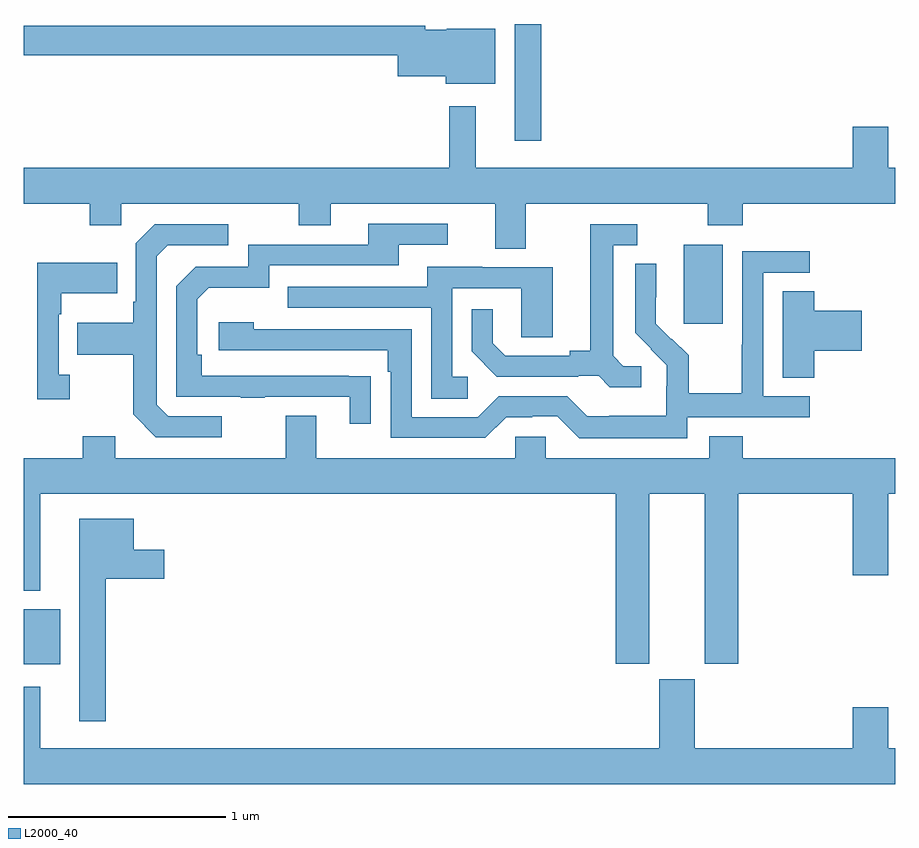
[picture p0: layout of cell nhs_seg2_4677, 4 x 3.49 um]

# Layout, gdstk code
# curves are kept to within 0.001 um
import gdstk
lib = gdstk.Library(unit=1e-6, precision=1e-09)
def R(c, l, rs):  # rectangles x0, y0, x1, y1
    for r in rs: c.add(gdstk.rectangle(r[:2], r[2:], *l))
def P(c, l, *ps):  # polygons
    for p in ps: c.add(gdstk.Polygon(p, *l))
L2000_40 = (2000, 40)

nhs_seg2_4677 = lib.new_cell('nhs_seg2_4677')
R(nhs_seg2_4677, L2000_40, [(365,638.861,365.167,639.115), (368.03,640.425,368.209,640.786), (367.253,641.265,367.375,641.8)])
P(nhs_seg2_4677, L2000_40, [(367.165,641.779),(366.942,641.779),(366.942,641.773),(366.842,641.773),(366.842,641.792),(365,641.792),(365,641.656),(366.716,641.656),(366.716,641.561),(366.938,641.561),(366.938,641.525),(367.165,641.525)],
  [(367.075,641.422),(366.954,641.422),(366.954,641.14),(365,641.14),(365,640.976),(365.302,640.976),(365.302,640.877),(365.448,640.877),(365.448,640.976),(366.262,640.976),(366.262,640.877),(366.409,640.877),(366.409,640.976),(367.163,640.976),(367.163,640.768),(367.303,640.768),(367.303,640.976),(368.14,640.976),(368.14,640.877),(368.3,640.877),(368.3,640.976),(369,640.976),(369,641.14),(368.968,641.14),(368.968,641.329),(368.804,641.329),(368.804,641.14),(367.075,641.14)],
  [(366.593,640.184),(365.816,640.185),(365.816,640.282),(365.796,640.282),(365.796,640.536),(365.849,640.589),(366.126,640.589),(366.126,640.692),(366.721,640.692),(366.721,640.788),(366.946,640.788),(366.946,640.884),(366.581,640.884),(366.581,640.788),(366.03,640.788),(366.03,640.686),(365.79,640.686),(365.7,640.596),(365.7,640.089),(365.995,640.089),(365.995,640.084),(366.107,640.084),(366.107,640.089),(366.497,640.089),(366.497,639.966),(366.593,639.966)],
  [(365.908,639.999),(365.664,639.999),(365.61,640.053),(365.61,640.734),(365.661,640.785),(365.938,640.785),(365.938,640.881),(365.601,640.881),(365.514,640.794),(365.514,640.525),(365.502,640.525),(365.502,640.429),(365.245,640.429),(365.245,640.282),(365.502,640.282),(365.502,640.009),(365.607,639.903),(365.908,639.903)],
  [(367.834,640.23),(367.752,640.23),(367.705,640.277),(367.705,640.785),(367.816,640.785),(367.816,640.881),(367.601,640.881),(367.601,640.301),(367.505,640.301),(367.505,640.278),(367.21,640.278),(367.153,640.335),(367.153,640.492),(367.056,640.492),(367.056,640.298),(367.172,640.182),(367.544,640.182),(367.544,640.185),(367.638,640.185),(367.69,640.133),(367.834,640.133)],
  [(368.046,639.996),(368.608,639.996),(368.608,640.092),(368.394,640.092),(368.394,640.659),(368.608,640.659),(368.608,640.758),(368.298,640.758),(368.298,640.328),(368.296,640.328),(368.296,640.105),(368.051,640.105),(368.051,640.279),(367.974,640.356),(367.971,640.353),(367.901,640.424),(367.902,640.7),(367.806,640.7),(367.806,640.382),(367.952,640.234),(367.952,640.137),(367.95,640.137),(367.95,640.003),(367.687,640.003),(367.687,639.999),(367.587,639.999),(367.494,640.092),(367.179,640.092),(367.083,639.996),(366.78,639.996),(366.78,640.398),(366.056,640.398),(366.056,640.432),(365.895,640.432),(365.895,640.302),(366.671,640.302),(366.671,640.205),(366.684,640.205),(366.684,639.9),(367.119,639.9),(367.215,639.996),(367.334,639.996),(367.334,639.999),(367.449,639.999),(367.549,639.899),(368.046,639.899)],
  [(365.212,640.19),(365.16,640.19),(365.16,640.469),(365.173,640.469),(365.173,640.565),(365.429,640.565),(365.429,640.705),(365.063,640.705),(365.063,640.077),(365.212,640.077)],
  [(367.039,640.182),(366.966,640.182),(366.966,640.587),(367.284,640.587),(367.284,640.363),(367.429,640.363),(367.429,640.683),(367.105,640.683),(367.105,640.687),(366.851,640.687),(366.851,640.593),(366.211,640.593),(366.211,640.497),(366.87,640.497),(366.87,640.081),(367.039,640.081)],
  [(368.627,640.301),(368.845,640.301),(368.845,640.484),(368.627,640.484),(368.627,640.574),(368.483,640.574),(368.483,640.177),(368.627,640.177)],
  [(367.395,639.906),(367.257,639.906),(367.257,639.808),(366.343,639.808),(366.343,640.003),(366.203,640.003),(366.203,639.808),(365.419,639.808),(365.419,639.907),(365.272,639.907),(365.272,639.808),(365,639.808),(365,639.2),(365.077,639.2),(365.077,639.644),(367.718,639.644),(367.718,638.865),(367.87,638.865),(367.87,639.644),(368.126,639.644),(368.126,638.865),(368.279,638.865),(368.279,639.644),(368.804,639.644),(368.804,639.27),(368.968,639.27),(368.968,639.644),(369,639.644),(369,639.808),(368.3,639.808),(368.3,639.907),(368.147,639.907),(368.147,639.808),(367.395,639.808)],
  [(365.377,639.254),(365.644,639.254),(365.644,639.388),(365.506,639.388),(365.506,639.529),(365.255,639.529),(365.255,638.601),(365.377,638.601)],
  [(369,638.476),(368.968,638.476),(368.968,638.665),(368.804,638.665),(368.804,638.476),(368.08,638.476),(368.08,638.793),(367.916,638.793),(367.916,638.476),(365.077,638.476),(365.077,638.758),(365,638.758),(365,638.312),(369,638.312)])

lib.write_gds('nhs_seg2_4677.gds')
